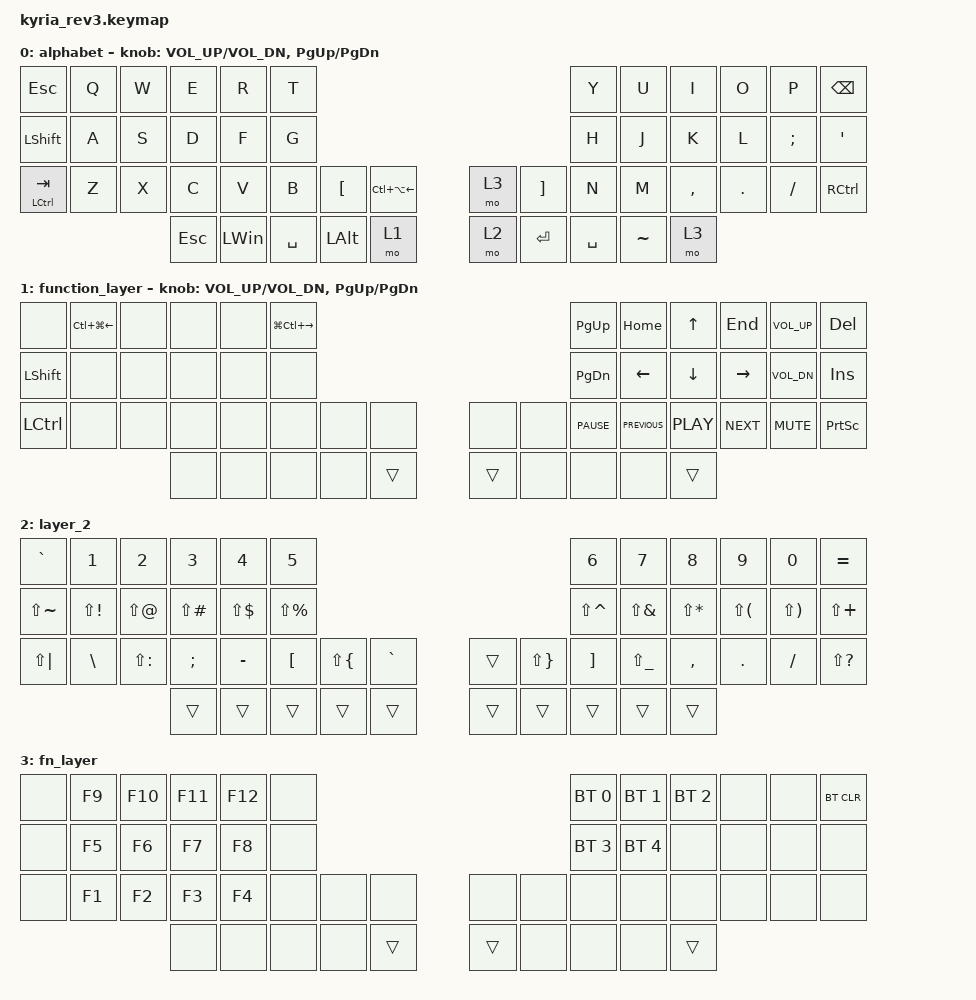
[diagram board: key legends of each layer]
/*
 * Copyright (c) 2023 The ZMK Contributors
 *
 * SPDX-License-Identifier: MIT
 */

#include <behaviors.dtsi>
#include <dt-bindings/zmk/bt.h>
#include <dt-bindings/zmk/keys.h>

/* Uncomment this block if using RGB
&led_strip {
    chain-length = <6>;
    // chain-length = <31>; // Uncomment if using both per-key and underglow LEDs
    // chain-length = <25>; // Uncomment if using only per-key LEDs.
};
 */

/ {
    macros {
        left_desktop: left_desktop {
            compatible = "zmk,behavior-macro";
            #binding-cells = <0>;
            bindings = <&macro_press>;
            label = "LEFT_DESKTOP";
        };
    };

    combos {
        compatible = "zmk,combos";

        Esc {
            bindings = <&kp ESCAPE>;
            key-positions = <16 19>;
        };
    };

    keymap {
        compatible = "zmk,keymap";

        alphabet {
            // ---------------------------------------------------------------------------------------------------------------------------------
            // |  ESC  |  Q  |  W  |  E   |  R   |  T   |                                          |  Y   |  U    |  I    |  O   |   P   |   \  |
            // |  TAB  |  A  |  S  |  D   |  F   |  G   |                                          |  H   |  J    |  K    |  L   |   ;   |   '  |
            // | SHIFT |  Z  |  X  |  C   |  V   |  B   | L SHIFT | L SHIFT |  | LAYER 1 | L SHIFT |  N   |  M    |  ,    |  .   |   /   | CTRL |
            //                     | GUI  | DEL  | RET  |  SPACE  |   ESC   |  |   RET   |  SPACE  | TAB  | BSPC  | R-ALT |

            bindings = <
&kp ESC               &kp Q  &kp W  &kp E       &kp R     &kp T                                                                          &kp Y      &kp U      &kp I      &kp O    &kp P     &kp BACKSPACE
&kp LEFT_SHIFT        &kp A  &kp S  &kp D       &kp F     &kp G                                                                          &kp H      &kp J      &kp K      &kp L    &kp SEMI  &kp SQT
&mt LEFT_CONTROL TAB  &kp Z  &kp X  &kp C       &kp V     &kp B      &kp LEFT_BRACKET  &kp LC(LA(LEFT_ARROW))  &mo 3  &kp RIGHT_BRACKET  &kp N      &kp M      &kp COMMA  &kp DOT  &kp FSLH  &kp RCTRL
                                    &kp ESCAPE  &kp LWIN  &kp SPACE  &kp LEFT_ALT      &mo 1                   &mo 2  &kp ENTER          &kp SPACE  &kp TILDE  &mo 3
            >;

            sensor-bindings = <&inc_dec_kp C_VOL_UP C_VOL_DN &inc_dec_kp PG_UP PG_DN>;
        };

        function_layer {
            // ---------------------------------------------------------------------------------------------------------------------------------
            // |       |      |BT_CLR|BTSEL0|BTSEL1|BTSEL2|                                         |      |      |      |      |      |      |
            // |       |      |      |BTSEL3|BTSEL4|      |                                         |      |      |      |      |      |      |
            // |       |      |      |      |      |      |      |      |      |      |      |      |      |      |      |      |      |      |
            //                       |      |      |      |      |      |      |      |      |      |      |      |      |

            bindings = <
&none           &kp LC(LG(LEFT))  &none  &none  &none  &kp LG(LC(RIGHT))                                &kp PAGE_UP    &kp HOME        &kp UP_ARROW  &kp END     &kp C_VOLUME_UP  &kp DELETE
&kp LEFT_SHIFT  &none             &none  &none  &none  &none                                            &kp PAGE_DOWN  &kp LEFT        &kp DOWN      &kp RIGHT   &kp C_VOL_DN     &kp INSERT
&kp LCTRL       &none             &none  &none  &none  &none              &none  &none   &none   &none  &kp C_PAUSE    &kp C_PREVIOUS  &kp C_PLAY    &kp C_NEXT  &kp C_MUTE       &kp PRINTSCREEN
                                         &none  &none  &none              &none  &trans  &trans  &none  &none          &none           &trans
            >;

            sensor-bindings = <&inc_dec_kp C_VOL_UP C_VOL_DN &inc_dec_kp PG_UP PG_DN>;
        };

        layer_2 {
            bindings = <
&kp GRAVE      &kp N1        &kp N2         &kp N3         &kp N4        &kp N5                                                        &kp N6         &kp N7         &kp N8        &kp N9        &kp N0        &kp EQUAL
&kp LS(TILDE)  &kp LS(EXCL)  &kp LS(AT)     &kp LS(POUND)  &kp LS(DLLR)  &kp LS(PRCNT)                                                 &kp LS(CARET)  &kp LS(AMPS)   &kp LS(STAR)  &kp LS(LPAR)  &kp LS(RPAR)  &kp LS(PLUS)
&kp LS(PIPE)   &kp BSLH      &kp LS(COLON)  &kp SEMI       &kp MINUS     &kp LBKT       &kp LS(LBRC)  &kp GRAVE  &trans  &kp LS(RBRC)  &kp RBKT       &kp LS(UNDER)  &kp COMMA     &kp DOT       &kp FSLH      &kp LS(QMARK)
                                            &trans         &trans        &trans         &trans        &trans     &trans  &trans        &trans         &trans         &trans
            >;
        };

        fn_layer {
            bindings = <
&none  &kp F9  &kp F10  &kp F11  &kp F12  &none                                &bt BT_SEL 0  &bt BT_SEL 1  &bt BT_SEL 2  &none  &none  &bt BT_CLR
&none  &kp F5  &kp F6   &kp F7   &kp F8   &none                                &bt BT_SEL 3  &bt BT_SEL 4  &none         &none  &none  &none
&none  &kp F1  &kp F2   &kp F3   &kp F4   &none  &none  &none   &none   &none  &none         &none         &none         &none  &none  &none
                        &none    &none    &none  &none  &trans  &trans  &none  &none         &none         &trans
            >;
        };
    };
};
